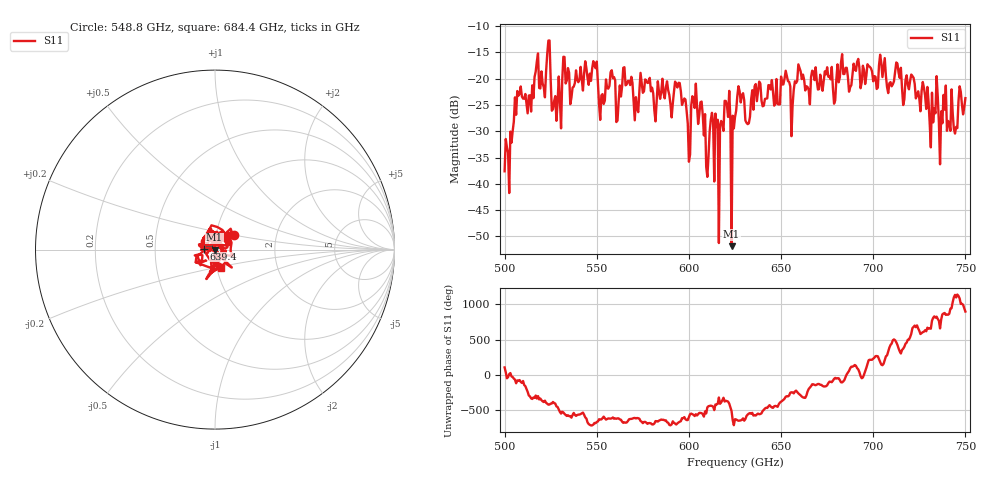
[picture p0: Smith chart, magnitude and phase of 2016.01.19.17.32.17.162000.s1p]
!Created with skrf (http://scikit-rf.org).
# GHz S RI R 50.0
!freq ReS11 ImS11
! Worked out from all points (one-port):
!   401 points, 500 GHz to 750 GHz, reference 50 ohm
!   lowest |S11| = -51.9 dB at 623.1 GHz (marker M1), VSWR 1.01, Z = 49.8 - j0.124 ohm
!   |S11| at or under -10 dB: start of sweep to end of sweep
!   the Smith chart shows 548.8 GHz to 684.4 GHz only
!   S11 on the Smith chart (normalised r, x): 548.8 GHz: 1.21, +0.20; 639.4 GHz: 0.88, +0.01; 684.4 GHz: 1.05, -0.22
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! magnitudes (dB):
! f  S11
! 500 GHz  -37.6
! 508.1 GHz  -22.8
! 513.1 GHz  -23.2
! 523.8 GHz  -12.8
! 526.9 GHz  -24.3
! 531.2 GHz  -20.4
! 548.8 GHz  -17.5
! 552.5 GHz  -23.2
! 558.8 GHz  -19.9
! 562.5 GHz  -21.3
! 593.8 GHz  -21.7
! 599.4 GHz  -28.5
! 602.5 GHz  -24.0
! 607.5 GHz  -26.9
! 609.4 GHz  -36.8
! 617.5 GHz  -28.0
! 620.6 GHz  -25.1
! 623.1 GHz  -51.9
! 625 GHz  -27.3
! 639.4 GHz  -24.2
! 653.1 GHz  -19.4
! 656.2 GHz  -25.0
! 660.6 GHz  -18.6
! 684.4 GHz  -19.1
! 687.5 GHz  -21.6
! 718.8 GHz  -21.2
! 736.2 GHz  -36.3
! 750 GHz  -23.7
